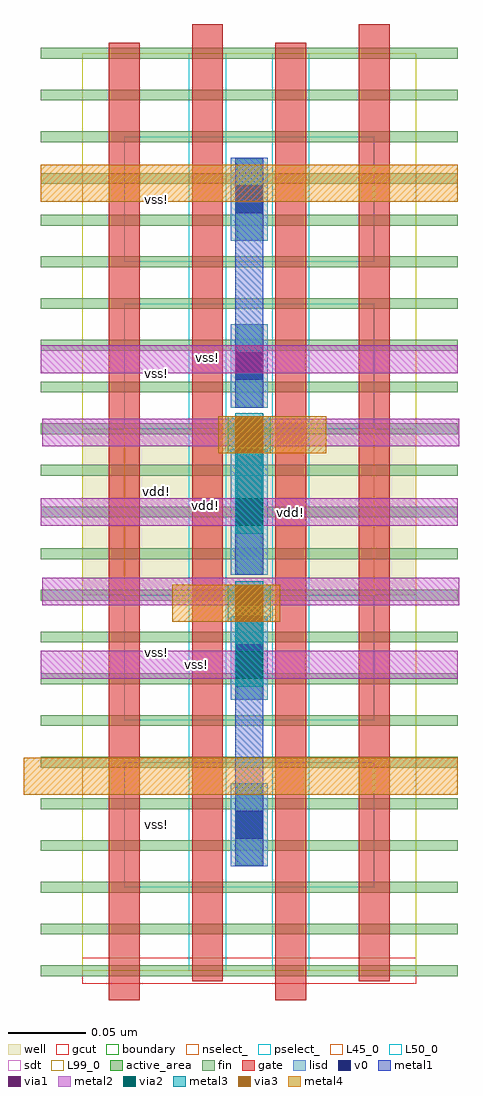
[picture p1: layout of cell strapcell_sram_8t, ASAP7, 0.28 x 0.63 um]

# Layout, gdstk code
import gdstk
lib = gdstk.Library(unit=1e-6, precision=2.5e-10)
def R(c, l, rs):  # rectangles x0, y0, x1, y1
    for r in rs: c.add(gdstk.rectangle(r[:2], r[2:], *l))
def A(c, l, x, y, w, h, nx, ny, dx, dy):  # array of equal rectangles
    R(c, l, [(x+i*dx, y+j*dy, x+i*dx+w, y+j*dy+h) for i in range(nx) for j in range(ny)])
well = (1, 0)
fin = (2, 0)
gate = (7, 0)
gcut = (10, 0)
active_area = (11, 0)
nselect_ = (12, 0)
pselect_ = (13, 0)
lisd = (17, 0)
v0 = (18, 0)
metal1 = (19, 0)
metal2 = (20, 0)
via1 = (21, 0)
via2 = (25, 0)
metal3 = (30, 0)
via3 = (35, 0)
metal4 = (40, 0)
L45_0 = (45, 0)
L50_0 = (50, 0)
sdt = (88, 0)
L99_0 = (99, 0)
boundary = (100, 0)

strapcell_sram_8t = lib.new_cell('strapcell_sram_8t')
R(strapcell_sram_8t, well, [(0,0.081,0.216,0.189)])
A(strapcell_sram_8t, fin, -0.027, -0.1655, 0.27, 0.007, 1, 23, 0, 0.027)
R(strapcell_sram_8t, gate, [(0.017,-0.181,0.037,0.439), (0.125,-0.181,0.145,0.439), (0.071,-0.169,0.091,0.451), (0.179,-0.169,0.199,0.451)])
R(strapcell_sram_8t, gcut, [(0,-0.1705,0.216,-0.1535)])
R(strapcell_sram_8t, active_area, [(0.1,-0.0945,0.116,-0.0405), (0.1,0.0135,0.116,0.0675), (0.1,0.0945,0.116,0.1755), (0.1,0.2025,0.116,0.2565), (0.1,0.3105,0.116,0.3645)])
R(strapcell_sram_8t, nselect_, [(0.027,0.081,0.189,0.189)])
R(strapcell_sram_8t, pselect_, [(0.027,-0.108,0.189,-0.027), (0.027,0,0.189,0.081), (0.027,0.189,0.189,0.27), (0.027,0.297,0.189,0.378)])
R(strapcell_sram_8t, lisd, [(0.096,-0.0945,0.12,-0.0405), (0.096,0.0135,0.12,0.0675), (0.096,0.0945,0.12,0.1755), (0.096,0.2025,0.12,0.2565), (0.096,0.3105,0.12,0.3645)])
A(strapcell_sram_8t, v0, 0.099, 0.0315, 0.018, 0.018, 1, 3, 0, 0.0945)
R(strapcell_sram_8t, v0, [(0.099,-0.0765,0.117,-0.0585), (0.099,0.3285,0.117,0.3465)])
R(strapcell_sram_8t, metal1, [(0.099,-0.0945,0.117,0.0675), (0.099,0.0945,0.117,0.1755), (0.099,0.2025,0.117,0.3645)])
A(strapcell_sram_8t, metal2, -0.027, 0.027, 0.27, 0.018, 1, 3, 0, 0.099)
R(strapcell_sram_8t, metal2, [(-0.026,0.0745,0.244,0.0925), (-0.026,0.1775,0.244,0.1955)])
A(strapcell_sram_8t, via1, 0.099, 0.027, 0.018, 0.018, 1, 3, 0, 0.099)
R(strapcell_sram_8t, via2, [(0.099,0.027,0.117,0.045), (0.099,0.126,0.117,0.144)])
R(strapcell_sram_8t, metal3, [(0.099,0.022,0.117,0.09), (0.094,0.064,0.122,0.088), (0.099,0.121,0.117,0.199), (0.094,0.173,0.122,0.197)])
R(strapcell_sram_8t, via3, [(0.099,0.064,0.117,0.088), (0.099,0.173,0.117,0.197)])
R(strapcell_sram_8t, metal4, [(-0.038,-0.048,0.243,-0.024), (0.058,0.064,0.128,0.088), (0.088,0.173,0.158,0.197), (-0.027,0.336,0.243,0.36)])
R(strapcell_sram_8t, L45_0, [(0.069,0.064,0.093,0.088), (0.123,0.173,0.147,0.197)])
R(strapcell_sram_8t, L50_0, [(0.069,-0.162,0.093,0.432), (0.123,-0.162,0.147,0.432)])
R(strapcell_sram_8t, sdt, [(0.096,-0.0945,0.12,-0.0405), (0.096,0.0135,0.12,0.0675), (0.096,0.0945,0.12,0.1755), (0.096,0.2025,0.12,0.2565), (0.096,0.3105,0.12,0.3645)])
R(strapcell_sram_8t, L99_0, [(0,-0.162,0.216,0.432)])
R(strapcell_sram_8t, boundary, [(0,-0.162,0.216,0.432)])
strapcell_sram_8t.add(gdstk.Label('vss!', (0.081,0.235), layer=20, texttype=251))
strapcell_sram_8t.add(gdstk.Label('vss!', (0.074,0.036), layer=20, texttype=251))
strapcell_sram_8t.add(gdstk.Label('vdd!', (0.0795,0.1395), layer=20, texttype=251))
strapcell_sram_8t.add(gdstk.Label('vdd!', (0.048,0.148), layer=1, texttype=251))
strapcell_sram_8t.add(gdstk.Label('vss!', (0.048,0.2245), layer=3, texttype=251))
strapcell_sram_8t.add(gdstk.Label('vss!', (0.048,0.044), layer=3, texttype=251))
strapcell_sram_8t.add(gdstk.Label('vss!', (0.048,-0.0675), layer=3, texttype=251))
strapcell_sram_8t.add(gdstk.Label('vss!', (0.048,0.3375), layer=3, texttype=251))
strapcell_sram_8t.add(gdstk.Label('vss!', (0.081,0.036), layer=50, texttype=251))
strapcell_sram_8t.add(gdstk.Label('vdd!', (0.135,0.135), layer=50, texttype=251))

lib.write_gds('strapcell_sram_8t.gds')
